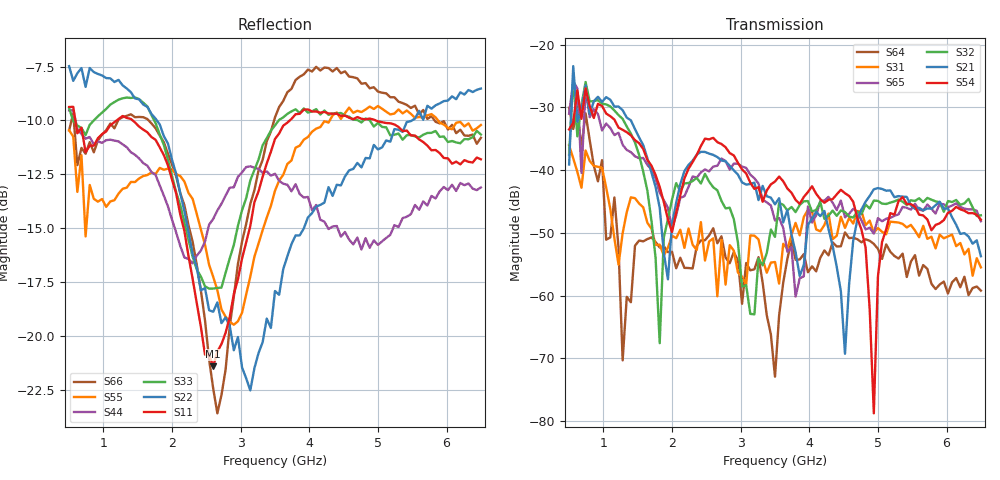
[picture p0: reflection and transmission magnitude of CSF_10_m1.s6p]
!Keysight Technologies,M9804A,MY58100912,A.14.10.03
!Date: Thursday, April 27, 2023 10:28:33
!Correction: S11(C  6-Port  )
!S12(C  6-Port  )
!S13(C  6-Port  )
!S14(C  6-Port  )
!S15(C  6-Port  )
!S16(C  6-Port  )
!S21(C  6-Port  )
!S22(C  6-Port  )
!S23(C  6-Port  )
!S24(C  6-Port  )
!S25(C  6-Port  )
!S26(C  6-Port  )
!S31(C  6-Port  )
!S32(C  6-Port  )
!S33(C  6-Port  )
!S34(C  6-Port  )
!S35(C  6-Port  )
!S36(C  6-Port  )
!S41(C  6-Port  )
!S42(C  6-Port  )
!S43(C  6-Port  )
!S44(C  6-Port  )
!S45(C  6-Port  )
!S46(C  6-Port  )
!S51(C  6-Port  )
!S52(C  6-Port  )
!S53(C  6-Port  )
!S54(C  6-Port  )
!S55(C  6-Port  )
!S56(C  6-Port  )
!S61(C  6-Port  )
!S62(C  6-Port  )
!S63(C  6-Port  )
!S64(C  6-Port  )
!S65(C  6-Port  )
!S66(C  6-Port  )
!S6P File: Measurement: :
# Hz S  RI  R 50
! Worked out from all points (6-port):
!   101 points, 500 MHz to 6.5 GHz, reference 50 ohm
!   strongest paths, dB at 500 MHz, 2 GHz, 3.5 GHz, 5 GHz, 6.5 GHz:
!     S54: -33.5, -49.9, -41.8, -56.9, -47.9
!     S21: -39.1, -48.6, -45.5, -42.9, -53.7
!     S32: -37.5, -44.7, -50.6, -44.9, -47.2
!     S65: -31.0, -49.2, -48.0, -47.7, -48.2
!     S31: -36.1, -50.5, -54.6, -49.2, -55.5
!     S64: -30.1, -53.0, -72.9, -52.6, -59.2
!   lowest |S11| = -21.4 dB at 2.6 GHz (marker M1), VSWR 1.19, Z = 42.5 + j2.2 ohm
!   |S11| at or under -10 dB: 590.8 MHz to 1.193 GHz (601.8 MHz wide, 67.5 % of centre); 1.426 GHz to 3.716 GHz (2.289 GHz wide, 89 % of centre); 4.967 GHz to end of sweep
